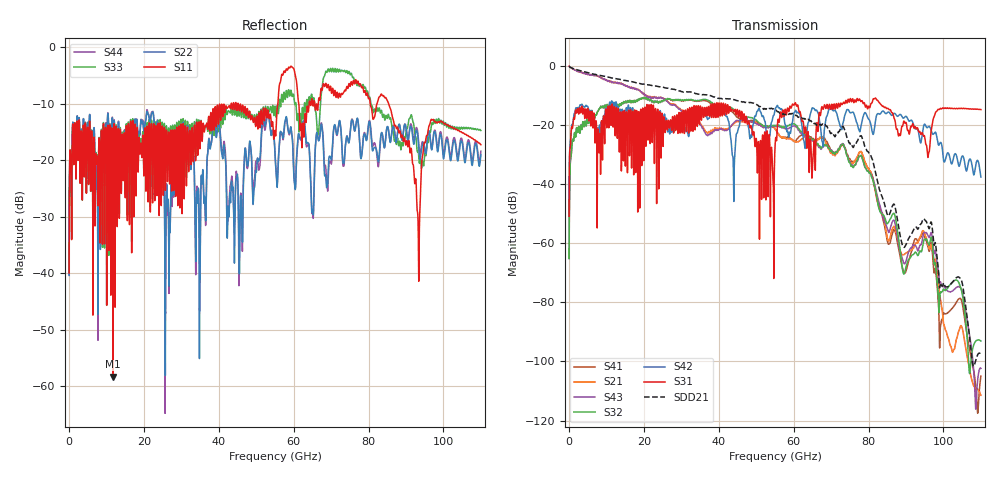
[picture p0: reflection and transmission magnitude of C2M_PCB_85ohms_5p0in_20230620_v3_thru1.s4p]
! Info: Touchstone file created by Circ.  Input file=C2M_PCB_85ohms_5p0in_20230620_v3.circ
# Hz S RI R 50
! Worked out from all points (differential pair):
!   11000 points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, 10 MHz to 110 GHz, reference 50 ohm
!   strongest paths, dB at 10 MHz, 27.51 GHz, 55.01 GHz, 82.51 GHz, 110 GHz:
!     S31: -50.9, -19.0, -27.4, -11.8, -14.8
!     S42: -50.7, -21.4, -14.8, -16.1, -37.6
!     S32: -65.2, -11.4, -20.2, -46.8, -93.1
!     S43: -0.1, -13.3, -20.6, -45.0, -102.4
!     S21: -0.1, -13.0, -21.2, -46.6, -111.4
!     S41: -65.2, -11.6, -21.4, -45.6, -104.9
!   taken as a pair (ports 3,1 in; 4,2 out), SDD21 dB: -0.1, -7.8, -14.9, -40.0, -98.0
!   lowest |S11| = -58.3 dB at 11.74 GHz (marker M1), VSWR 1.00, Z = 50.1 + j0.0813 ohm
!   |S11| at or under -10 dB: start of sweep to 43.31 GHz; 45.18 GHz to 55.78 GHz (10.6 GHz wide, 21 % of centre); 85.34 GHz to end of sweep (the widest 3 of 11)
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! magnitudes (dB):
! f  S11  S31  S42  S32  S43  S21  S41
! 10 MHz  -40.0  -50.9  -50.7  -65.2  -0.1  -0.1  -65.2
! 1.62 GHz  -14.4  -16.0  -15.3  -23.3  -1.5  -1.5  -23.3
! 11.74 GHz  -58.3  -20.1  -13.7  -13.7  -5.4  -5.4  -13.7
! 54.28 GHz  -13.3  -32.9  -18.3  -20.2  -20.6  -20.6  -20.7
! 77.9 GHz  -6.7  -12.0  -20.8  -30.3  -30.4  -28.9  -29.1
! 89.46 GHz  -16.4  -18.6  -17.6  -70.4  -66.9  -63.9  -70.0
! 110 GHz  -17.3  -14.8  -37.6  -93.1  -102.4  -111.4  -104.9
